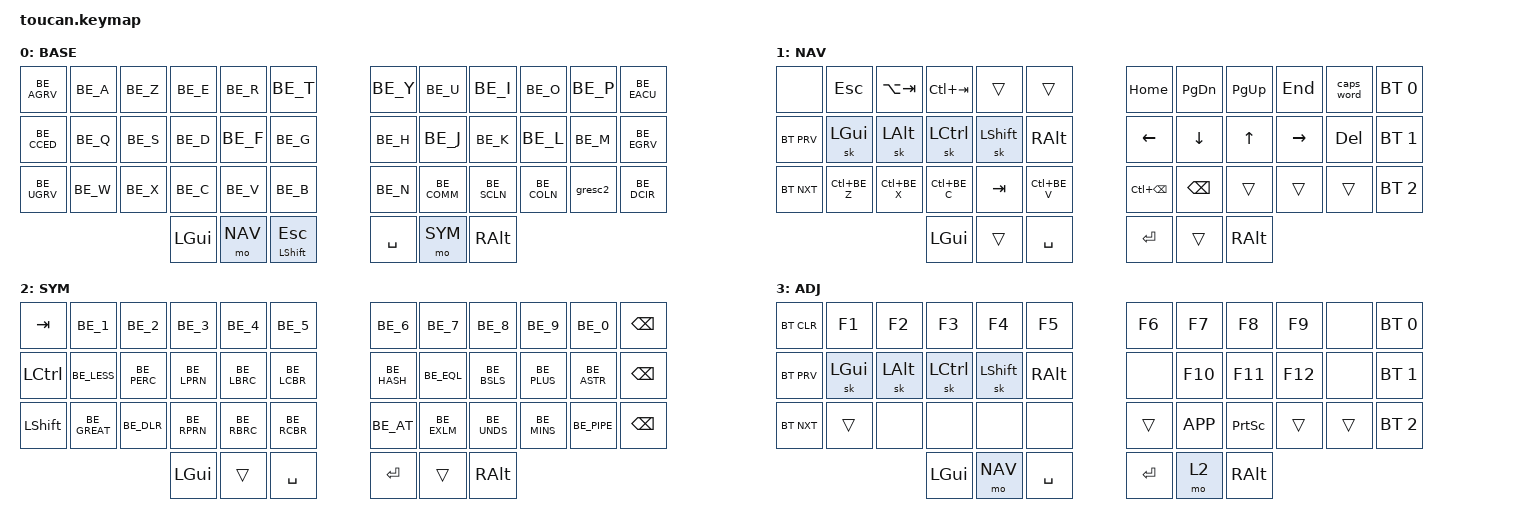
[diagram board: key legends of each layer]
#include <behaviors.dtsi>
#include <dt-bindings/zmk/keys.h>
#include <dt-bindings/zmk/bt.h>
#include <dt-bindings/zmk/outputs.h>
#include "keymap_belgian.h"

#define BASE 0
#define NAV  1
#define SYM  2
#define ADJ  3

/ {
    conditional_layers {
        compatible = "zmk,conditional-layers";
        tri_layer {
            if-layers = <1 2>;
            then-layer = <3>;
        };
    };

    behaviors {
        gresc2: quote_doublequote {
            compatible = "zmk,behavior-mod-morph";
            #binding-cells = <0>;
            bindings = <&kp BE_QUOT>, <&kp BE_DQUO>;
            mods = <(MOD_LSFT)>;
        };
    };
      
    keymap {
        compatible = "zmk,keymap";

        base {
            display-name = "BASE";
            bindings = <
                &kp BE_AGRV   &kp BE_A &kp BE_Z &kp BE_E &kp BE_R &kp BE_T   &kp BE_Y &kp BE_U  &kp BE_I     &kp BE_O   &kp BE_P   &kp BE_EACU
                &kp BE_CCED &kp BE_Q &kp BE_S &kp BE_D &kp BE_F &kp BE_G   &kp BE_H &kp BE_J  &kp BE_K     &kp BE_L   &kp BE_M     &kp BE_EGRV
                &kp BE_UGRV &kp BE_W &kp BE_X &kp BE_C &kp BE_V &kp BE_B   &kp BE_N &kp BE_COMM  &kp BE_SCLN &kp BE_COLN &gresc2   &kp BE_DCIR
                                &kp LGUI &mo NAV &mt LSHIFT ESC             &kp SPACE &mo SYM &kp RALT
            >;
        };

        nav {
            display-name = "NAV";
            bindings = <
              &none &kp ESC  &kp LA(TAB) &kp LC(TAB)  &trans  &trans                &kp HOME &kp PG_DN &kp PG_UP &kp END &caps_word   &bt BT_SEL 0
              &bt BT_PRV &sk LGUI &sk LALT &sk LCTRL &sk LSHIFT &kp RALT                 &kp LEFT &kp DOWN  &kp UP  &kp RIGHT &kp DEL &bt BT_SEL 1
              &bt BT_NXT &kp LC(BE_Z)  &kp LC(BE_X) &kp LC(BE_C) &kp TAB &kp LC(BE_V)    &kp LC(BSPC) &kp BSPC &trans &trans &trans   &bt BT_SEL 2
                                                &kp LGUI     &trans       &kp SPACE      &kp RET  &trans   &kp RALT
            >;
        };

        sym {
            display-name = "SYM";
            bindings = <
                &kp TAB   &kp BE_1 &kp BE_2 &kp BE_3 &kp BE_4 &kp BE_5                   &kp BE_6  &kp BE_7  &kp BE_8 &kp BE_9 &kp BE_0 &kp BSPC
                &kp LCTRL &kp BE_LESS &kp BE_PERC &kp BE_LPRN &kp BE_LBRC &kp BE_LCBR    &kp BE_HASH &kp BE_EQL &kp BE_BSLS &kp BE_PLUS &kp BE_ASTR &kp BSPC
                &kp LSHFT &kp BE_GREAT &kp BE_DLR &kp BE_RPRN &kp BE_RBRC &kp BE_RCBR    &kp BE_AT &kp BE_EXLM &kp BE_UNDS &kp BE_MINS &kp BE_PIPE &kp BSPC
                                          &kp LGUI &trans   &kp SPACE   &kp RET   &trans    &kp RALT
            >;
        };

        adj {
            display-name = "ADJ";
            bindings = <
                &bt BT_CLR &kp F1 &kp F2 &kp F3 &kp F4 &kp F5                   &kp F6 &kp F7 &kp F8 &kp F9 &none &bt BT_SEL 0
                &bt BT_PRV &sk LGUI &sk LALT &sk LCTRL &sk LSHIFT &kp RALT   &none &kp F10 &kp F11 &kp F12 &none &bt BT_SEL 1
                &bt BT_NXT &trans &none &none &none &none                    &trans &kp K_APP &kp PRINTSCREEN &trans &trans &bt BT_SEL 2
                                   &kp LGUI &mo NAV &kp SPACE   &kp RET &mo 2 &kp RALT
            >;
        };
        extra_1 {
                status = "reserved";
        };

        extra_2 {
                status = "reserved";
        };

        extra_3 {
                status = "reserved";
        };
    };
};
